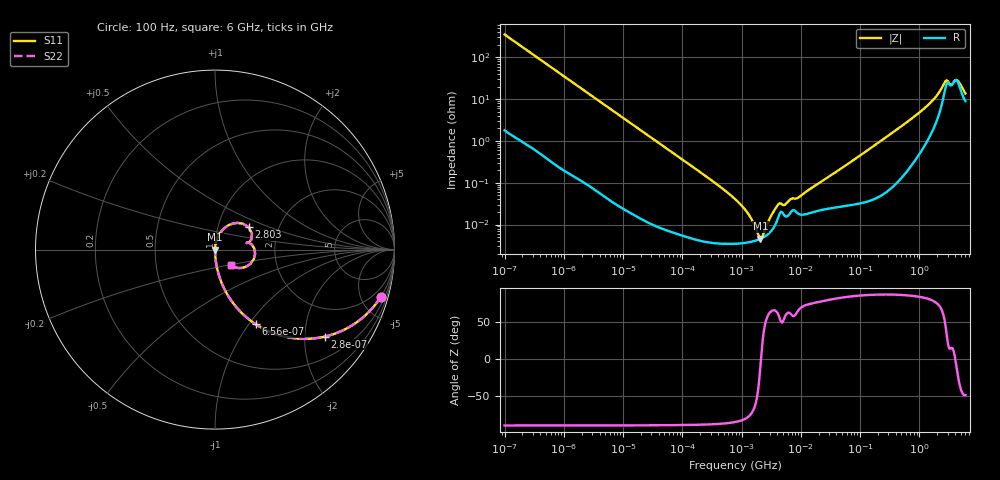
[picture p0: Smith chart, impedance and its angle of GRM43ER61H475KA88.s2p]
!Murata Part Number: GRM43ER61H475KA88
!These Parameters are Measured in Series Mode Connection
!Data Generated on Mar 30, 2021
!  o--ll--o
!Port1  Port2
!  o------o
!Operation Temp=25[degC], DC Bias Voltage=0[V]
!Freq. Start=100[Hz] Stop=6[GHz] 401[Steps]
# Hz S RI R 50
!Freq.(Hz) S11(Real) S11(Imag) S21(Real) S21(Imag) S12(Real) S12(Imag) S22(Real) S22(Imag)
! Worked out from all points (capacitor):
!   401 points, 100 Hz to 6 GHz, reference 50 ohm
!   read as one part in series: C = 4.52 uF near 109 Hz
!   lowest |Z| = 4.63 mohm at 2.074 MHz (marker M1)
!   series resonance near 2.126 MHz, so ESL is about 1.2 nH
!   S11 on the Smith chart (normalised r, x): 100 Hz: 1.04, -7.03; 280 Hz: 1.01, -2.52; 656 Hz: 1.01, -1.08; 2.803 GHz: 1.40, +0.37; 6 GHz: 1.18, -0.21
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100  0.9241 -0.2624  0.0759 0.2624  0.0759 0.2624  0.9241 -0.2624
164  0.8211 -0.3806  0.1789 0.3806  0.1789 0.3806  0.8211 -0.3806
280  0.6129 -0.4843  0.3871 0.4843  0.3871 0.4843  0.6129 -0.4843
656  0.2268 -0.4161  0.7732 0.4161  0.7732 0.4161  0.2268 -0.4161
2008  0.0313 -0.1712  0.9687 0.1712  0.9687 0.1712  0.0313 -0.1712
6433  0.00342 -0.0553  0.9966 0.0553  0.9966 0.0553  0.00342 -0.0553
40335  0.000164 -0.0089  0.9998 0.0089  0.9998 0.0089  0.000164 -0.0089
774597  3.49e-05 -0.000407  1 0.000407  1 0.000407  3.49e-05 -0.000407
1159002  3.65e-05 -0.000221  1 0.000221  1 0.000221  3.65e-05 -0.000221
1658239  4.06e-05 -8.65e-05  1 8.65e-05  1 8.65e-05  4.06e-05 -8.65e-05
2074311  4.55e-05 -8.5e-06  1 8.5e-06  1 8.5e-06  4.55e-05 -8.5e-06
2713602  5.69e-05 8.73e-05  0.9999 -8.73e-05  0.9999 -8.73e-05  5.69e-05 8.73e-05
4246196  0.000162 0.000266  0.9998 -0.000266  0.9998 -0.000266  0.000162 0.000266
5311619  0.000164 0.000244  0.9998 -0.000244  0.9998 -0.000244  0.000164 0.000244
9090158  0.000181 0.000404  0.9998 -0.000404  0.9998 -0.000404  0.000181 0.000404
1.555665e7  0.000196 0.000743  0.9998 -0.000743  0.9998 -0.000743  0.000196 0.000743
3.124326e8  0.000871 0.0139  0.9991 -0.0139  0.9991 -0.0139  0.000871 0.0139
1.712697e9  0.0267 0.0899  0.9733 -0.0899  0.9733 -0.0899  0.0267 0.0899
2.802721e9  0.1873 0.1247  0.8127 -0.1247  0.8127 -0.1247  0.1873 0.1247
3.505958e9  0.1779 0.0396  0.8221 -0.0396  0.8221 -0.0396  0.1779 0.0396
4.385646e9  0.2161 -0.0532  0.7839 0.0532  0.7839 0.0532  0.2161 -0.0532
6e9  0.0906 -0.0859  0.9094 0.0859  0.9094 0.0859  0.0906 -0.0859
